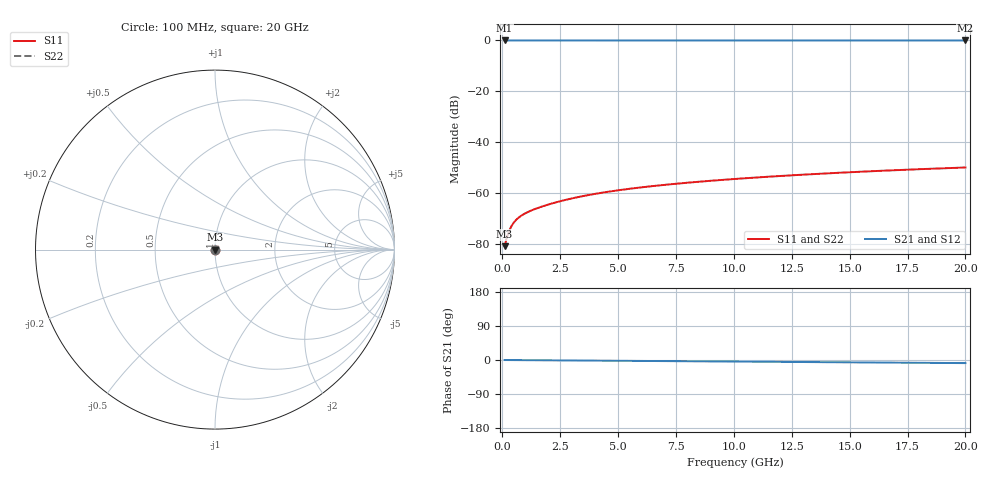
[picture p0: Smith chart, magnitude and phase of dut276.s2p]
! Touchstone file exported from HFSS 2026.1.0
!  File:  C:/ffzhzh/LocalFiles/Ansys_Project_Files/temp_train_TSV_276_1782993415_6248.aedt
!  Generated:  07:58:43 PM Jul  2, 2026
!  Design:  TSV
!  Project:  temp_train_TSV_276_1782993415_6248
! Variables:
!  h_bsmrdl = 2um
!  h_ox = 20um
!  h_rdl = 5um
!  h_sub = 79.18um
!  h_tmrdl = 5um
!  h_tsv = 79.18um
!  h_via = 3um
!  l_bsmrdl = 300um
!  l_sub = 429.12um
!  l_tmrdl = 200um
!  m_sub = 200um
!  pitch = 58.98um
!  r_tsv = 14.56um
!  s_tmrdl = 10um
!  w_bsmrdl = 18um
!  w_sub = 500um
!  w_tmrdl = 12um
!  x_tsv_center1 = 206um
!  x_tsv_center2 = 524um
!  x_tsv_center3 = 736um
!  x_tsv_center4 = 1054um
!  x_tsv_center5 = 1266um
!  x_tsv_center6 = 1584um
# GHz S MA R 50.000000
! Terminal data exported
! Port[1] = TSV1_1_T1
! Port[2] = TSV1_1_T2
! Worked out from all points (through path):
!   200 points, 100 MHz to 20 GHz, reference 50 ohm
!   highest |S21| = 0.00 dB at 100 MHz (marker M1); lowest = 0.0 dB at 20 GHz (marker M2)
!   group delay of S21, straight-line fit = 1.14 ps
!   lowest |S11| = -80.8 dB at 100 MHz (marker M3), VSWR 1.00, Z = 50 + j0.00551 ohm
!   |S11| at or under -10 dB: start of sweep to end of sweep
!   |S22| runs from -80.8 to -49.9 dB; largest |S21 - S12| = 3.2e-15
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0.1  9.11e-05 37.2  0.9999 -0.0  0.9999 -0.0  9.11e-05 37.2
! Gamma 0 0 0 0
! Port Impedance 50 0 50 0
0.2  0.0001368 51.0  0.9999 -0.1  0.9999 -0.1  0.0001368 51.0
0.3  0.0001843 55.0  0.9999 -0.1  0.9999 -0.1  0.0001843 55.0
0.4  0.0002279 55.9  0.9999 -0.2  0.9999 -0.2  0.0002279 55.9
0.5  0.0002665 55.8  0.9999 -0.2  0.9999 -0.2  0.0002665 55.8
0.6  0.0003003 55.3  0.9998 -0.3  0.9998 -0.3  0.0003003 55.3
0.7  0.0003302 54.9  0.9998 -0.3  0.9998 -0.3  0.0003302 54.9
0.9  0.0003815 54.6  0.9998 -0.4  0.9998 -0.4  0.0003815 54.6
1.1  0.0004259 54.8  0.9998 -0.5  0.9998 -0.5  0.0004259 54.8
1.3  0.0004668 55.3  0.9997 -0.5  0.9997 -0.5  0.0004669 55.3
1.9  0.0005826 57.6  0.9997 -0.8  0.9997 -0.8  0.0005826 57.6
2.7  0.0007333 60.1  0.9996 -1.1  0.9996 -1.1  0.0007333 60.1
3.5  0.0008803 61.6  0.9996 -1.4  0.9996 -1.4  0.0008803 61.6
4.2  0.001004 62.4  0.9996 -1.7  0.9996 -1.7  0.001004 62.4
5  0.00114 63.1  0.9995 -2.1  0.9995 -2.1  0.00114 63.1
5.9  0.001286 63.6  0.9995 -2.4  0.9995 -2.4  0.001286 63.6
6.8  0.001427 64.0  0.9994 -2.8  0.9994 -2.8  0.001427 64.0
8.3  0.001652 64.4  0.9994 -3.4  0.9994 -3.4  0.001652 64.4
10.1  0.001912 64.8  0.9993 -4.2  0.9993 -4.2  0.001912 64.8
13.4  0.002368 65.1  0.9992 -5.5  0.9992 -5.5  0.002368 65.1
16.7  0.002798 64.8  0.9991 -6.9  0.9991 -6.9  0.002798 64.8
20  0.003198 64.2  0.999 -8.2  0.999 -8.2  0.003198 64.2
